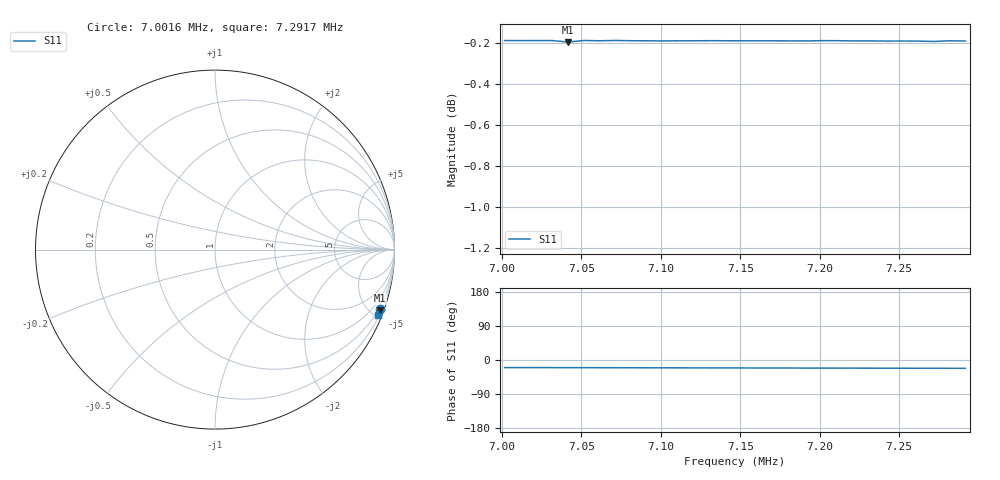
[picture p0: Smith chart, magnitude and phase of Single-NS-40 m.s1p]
# HZ S RI R 50
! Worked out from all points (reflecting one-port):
!   30 points, 7.0016 MHz to 7.2917 MHz, reference 50 ohm
!   lowest |S11| = -0.2 dB at 7.0416 MHz (marker M1), VSWR 88.18, Z = 18.4 - j280 ohm
!   phase of S11 starts at -20 deg and turns -2 deg over the sweep
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7001600  0.9199 -0.3331
7011604  0.9195 -0.3342
7021608  0.9191 -0.3354
7031612  0.9186 -0.3366
7041616  0.9174 -0.3376
7051620  0.9179 -0.3389
7061624  0.9173 -0.3399
7071628  0.917 -0.3412
7081632  0.9165 -0.3422
7091636  0.916 -0.3434
7101640  0.9155 -0.3446
7111644  0.9151 -0.3457
7121648  0.9147 -0.3468
7131652  0.9143 -0.3481
7151660  0.9134 -0.3502
7171668  0.9124 -0.3527
7181672  0.912 -0.3537
7191676  0.9115 -0.3549
7201680  0.9112 -0.3562
7211684  0.9107 -0.3573
7221688  0.9102 -0.3583
7231692  0.9097 -0.3595
7241696  0.9092 -0.3606
7251700  0.9088 -0.3617
7261704  0.9083 -0.3628
7271708  0.9076 -0.364
7281712  0.9075 -0.3652
7291716  0.907 -0.3663
